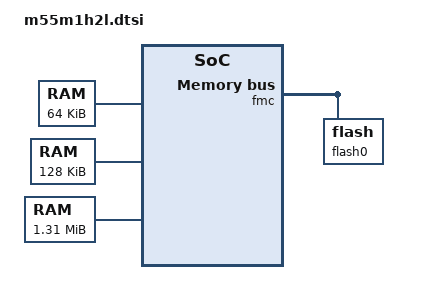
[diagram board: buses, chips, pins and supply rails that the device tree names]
/*
 * Copyright (c) 2025 Nuvoton Technology Corporation.
 *
 * SPDX-License-Identifier: Apache-2.0
 */

#include <mem.h>
#include <nuvoton/m55m1x.dtsi>

/ {
	itcm: memory@0 {
		compatible = "zephyr,memory-region", "arm,itcm";
		reg = <0x00000000 DT_SIZE_K(64)>;
		zephyr,memory-region = "ITCM";
	};

	soc {
		npu0: npu@40003000 {
			compatible = "nuvoton,numaker-npu";
			reg = <0x40003000 0x1000>;
			interrupts = <13 0>;
			resets = <&rst NUMAKER_SYS_NPURST>;
			clocks = <&pcc NUMAKER_NPU0_MODULE 0 0>;
			secure-enable;
			privilege-enable;
			status = "disabled";
		};

		fmc: flash-controller@40044000 {
			ranges;
			#address-cells = <1>;
			#size-cells = <1>;

			flash0: flash@100000 {
				reg = <0x100000 DT_SIZE_K(2048)>;
				ranges = <0x0 0x100000 DT_SIZE_K(2048)>;
				#address-cells = <1>;
				#size-cells = <1>;
			};
		};
	};

	dtcm: memory@20000000 {
		compatible = "zephyr,memory-region", "arm,dtcm";
		reg = <0x20000000 DT_SIZE_K(128)>;
		zephyr,memory-region = "DTCM";
	};

	sram0: memory@20100000 {
		compatible = "mmio-sram";
		reg = <0x20100000 DT_SIZE_K(1344)>;
	};
};
